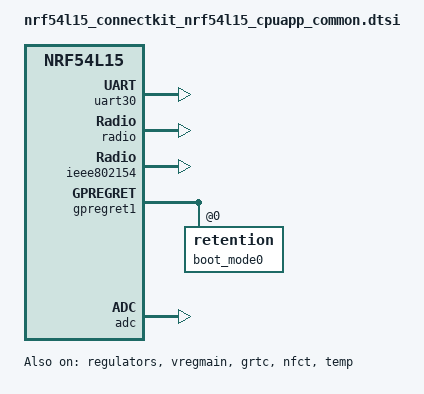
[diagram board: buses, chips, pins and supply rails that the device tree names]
/*
 * Copyright (c) 2016-2025 Makerdiary <https://makerdiary.com>
 *
 * SPDX-License-Identifier: Apache-2.0
 */

/* This file is common to the secure and non-secure domain */

#include "nrf54l15_connectkit_nrf54l15_common.dtsi"

/ {
	chosen {
		zephyr,console = &uart30;
		zephyr,shell-uart = &uart30;
		zephyr,uart-mcumgr = &uart30;
		zephyr,bt-mon-uart = &uart30;
		zephyr,bt-c2h-uart = &uart30;
		zephyr,flash-controller = &rram_controller;
		zephyr,flash = &cpuapp_rram;
		zephyr,ieee802154 = &ieee802154;
		zephyr,boot-mode = &boot_mode0;
	};
};

&cpuapp_sram {
	status = "okay";
};

&lfxo {
	load-capacitors = "internal";
	load-capacitance-femtofarad = <15500>;
};

&hfxo {
	load-capacitors = "internal";
	load-capacitance-femtofarad = <15000>;
};

&regulators {
	status = "okay";
};

&vregmain {
	status = "okay";
	regulator-initial-mode = <NRF5X_REG_MODE_DCDC>;
};

&grtc {
	owned-channels = <0 1 2 3 4 5 6 7 8 9 10 11>;
	/* Channels 7-11 reserved for Zero Latency IRQs, 3-4 for FLPR */
	child-owned-channels = <3 4 7 8 9 10 11>;
	status = "okay";
};

&uart30 {
	status = "okay";
};

&gpio0 {
	status = "okay";
};

&gpio1 {
	status = "okay";
};

&gpio2 {
	status = "okay";
};

&gpiote20 {
	status = "okay";
};

&gpiote30 {
	status = "okay";
};

&radio {
	status = "okay";
};

&ieee802154 {
	status = "okay";
};

&nfct {
	status = "okay";
};

&temp {
	status = "okay";
};

&clock {
	status = "okay";
};

&gpregret1 {
	status = "okay";

	boot_mode0: boot_mode@0 {
		compatible = "zephyr,retention";
		status = "okay";
		reg = <0x0 0x1>;
	};
};

&adc {
	status = "okay";
};
